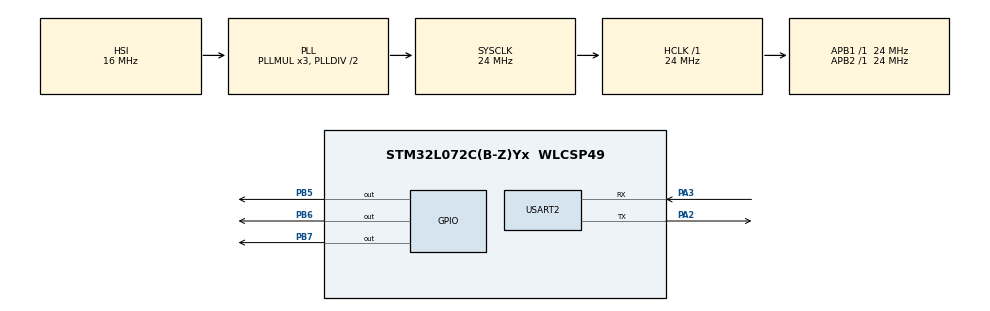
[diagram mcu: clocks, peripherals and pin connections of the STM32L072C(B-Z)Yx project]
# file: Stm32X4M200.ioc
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Mcu.Family=STM32L0
Mcu.Name=STM32L072C(B-Z)Yx
Mcu.Package=WLCSP49
NVIC.USART2_IRQn=true\:0\:0\:false\:false\:true\:true\:true
PA2.Mode=Asynchronous
PA2.Signal=USART2_TX
PA3.Mode=Asynchronous
PA3.Signal=USART2_RX
PB5.Signal=GPIO_Output
PB6.Signal=GPIO_Output
PB7.Signal=GPIO_Output
ProjectManager.HeapSize=0x200
ProjectManager.StackSize=0x400
ProjectManager.TargetToolchain=STM32CubeIDE
RCC.AHBFreq_Value=24000000
RCC.APB1Freq_Value=24000000
RCC.APB1TimFreq_Value=24000000
RCC.APB2Freq_Value=24000000
RCC.APB2TimFreq_Value=24000000
RCC.HCLKFreq_Value=24000000
RCC.HSE_VALUE=8000000
RCC.HSI16_VALUE=16000000
RCC.HSI48_VALUE=48000000
RCC.HSI_VALUE=16000000
RCC.LSE_VALUE=32768
RCC.MSI_VALUE=2097000
RCC.SYSCLKFreq_VALUE=24000000
RCC.SYSCLKSource=RCC_SYSCLKSOURCE_PLLCLK
RCC.VCOOutputFreq_Value=48000000
USART2.VirtualMode-Asynchronous=VM_ASYNC
board=custom

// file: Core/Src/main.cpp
/* USER CODE BEGIN Header */
/**
 ******************************************************************************
 * @file           : main.c
 * @brief          : Main program body
 ******************************************************************************
 * @attention
 *
 * <h2><center>&copy; Copyright (c) 2021 STMicroelectronics.
 * All rights reserved.</center></h2>
 *
 * This software component is licensed by ST under BSD 3-Clause license,
 * the "License"; You may not use this file except in compliance with the
 * License. You may obtain a copy of the License at:
 *                        opensource.org/licenses/BSD-3-Clause
 *
 ******************************************************************************
 */
/* USER CODE END Header */
#include "main.h"
#include "x4m200.h"
#include "string.h"

/* USER CODE BEGIN PD */
#define RX_BUF_LENGTH 64
#define TX_BUF_LENGTH 64
/* USER CODE END PD */

__IO ITStatus UartReady = SET;
UART_HandleTypeDef huart2;
static unsigned char rxBuf[RX_BUF_LENGTH];
static unsigned char txBuf[TX_BUF_LENGTH];

void SystemClock_Config(void);
static void MX_GPIO_Init(void);
static void MX_USART2_UART_Init(void);
void HAL_UART_TxCpltCallback(UART_HandleTypeDef *huart);
void HAL_UART_RxCpltCallback(UART_HandleTypeDef *huart);
/* USER CODE BEGIN PFP */
void sendCommand(unsigned char *cmd, int len);
int receiveData();
void receiveAck();
void stopModule();
void resetModule();
void loadRespirationApp();
void configureNoiseMap();
void setSensity(int sensitivity);
void setDetectionZone(float start_zone, float end_zone);
void executeApp();
RespirationData getRespirationData();
/* USER CODE END PFP */

int main(void) {
	/* USER CODE BEGIN 1 */
	RespirationData data;
	/* USER CODE END 1 */

	/* MCU Configuration--------------------------------------------------------*/

	/* Reset of all peripherals, Initializes the Flash interface and the Systick. */
	HAL_Init();

	/* Configure the system clock */
	SystemClock_Config();

	/* Initialize all configured peripherals */
	MX_GPIO_Init();
	MX_USART2_UART_Init();
	/* USER CODE BEGIN 2 */

	HAL_GPIO_TogglePin(GPIOB, GPIO_PIN_7);
	stopModule();
	resetModule();
	loadRespirationApp();
	configureNoiseMap();
	setSensity(5);
	setDetectionZone(0.40, 2.00);
	executeApp();
	HAL_GPIO_TogglePin(GPIOB, GPIO_PIN_7);
	/* USER CODE END 2 */

	/* Infinite loop */
	while (1) {
		data = getRespirationData();
		if (data.valid == true)
			switch (data.code) {
			case _xts_val_resp_state_breathing:
				HAL_GPIO_WritePin(GPIOB, GPIO_PIN_5, GPIO_PIN_SET);
				HAL_GPIO_WritePin(GPIOB, GPIO_PIN_6, GPIO_PIN_RESET);
				HAL_GPIO_WritePin(GPIOB, GPIO_PIN_7, GPIO_PIN_RESET);
				break;
			case _xts_val_resp_state_movement:
				HAL_GPIO_WritePin(GPIOB, GPIO_PIN_5, GPIO_PIN_RESET);
				HAL_GPIO_WritePin(GPIOB, GPIO_PIN_6, GPIO_PIN_SET);
				HAL_GPIO_WritePin(GPIOB, GPIO_PIN_7, GPIO_PIN_RESET);
				break;
			case _xts_val_resp_state_movement_tracking:
				HAL_GPIO_WritePin(GPIOB, GPIO_PIN_5, GPIO_PIN_RESET);
				HAL_GPIO_WritePin(GPIOB, GPIO_PIN_6, GPIO_PIN_RESET);
				HAL_GPIO_WritePin(GPIOB, GPIO_PIN_7, GPIO_PIN_SET);
				break;
			default:
				HAL_GPIO_WritePin(GPIOB, GPIO_PIN_5, GPIO_PIN_RESET);
				HAL_GPIO_WritePin(GPIOB, GPIO_PIN_6, GPIO_PIN_RESET);
				HAL_GPIO_WritePin(GPIOB, GPIO_PIN_7, GPIO_PIN_RESET);
				break;

			}
	}
}

void SystemClock_Config(void) {
	RCC_OscInitTypeDef RCC_OscInitStruct = { 0 };
	RCC_ClkInitTypeDef RCC_ClkInitStruct = { 0 };
	RCC_PeriphCLKInitTypeDef PeriphClkInit = { 0 };

	/** Configure the main internal regulator output voltage
	 */
	__HAL_PWR_VOLTAGESCALING_CONFIG(PWR_REGULATOR_VOLTAGE_SCALE1);
	/** Initializes the RCC Oscillators according to the specified parameters
	 * in the RCC_OscInitTypeDef structure.
	 */
	RCC_OscInitStruct.OscillatorType = RCC_OSCILLATORTYPE_HSI;
	RCC_OscInitStruct.HSIState = RCC_HSI_ON;
	RCC_OscInitStruct.HSICalibrationValue = RCC_HSICALIBRATION_DEFAULT;
	RCC_OscInitStruct.PLL.PLLState = RCC_PLL_ON;
	RCC_OscInitStruct.PLL.PLLSource = RCC_PLLSOURCE_HSI;
	RCC_OscInitStruct.PLL.PLLMUL = RCC_PLLMUL_3;
	RCC_OscInitStruct.PLL.PLLDIV = RCC_PLLDIV_2;
	if (HAL_RCC_OscConfig(&RCC_OscInitStruct) != HAL_OK) {
		Error_Handler();
	}
	/** Initializes the CPU, AHB and APB buses clocks
	 */
	RCC_ClkInitStruct.ClockType = RCC_CLOCKTYPE_HCLK | RCC_CLOCKTYPE_SYSCLK
			| RCC_CLOCKTYPE_PCLK1 | RCC_CLOCKTYPE_PCLK2;
	RCC_ClkInitStruct.SYSCLKSource = RCC_SYSCLKSOURCE_PLLCLK;
	RCC_ClkInitStruct.AHBCLKDivider = RCC_SYSCLK_DIV1;
	RCC_ClkInitStruct.APB1CLKDivider = RCC_HCLK_DIV1;
	RCC_ClkInitStruct.APB2CLKDivider = RCC_HCLK_DIV1;

	if (HAL_RCC_ClockConfig(&RCC_ClkInitStruct, FLASH_LATENCY_1) != HAL_OK) {
		Error_Handler();
	}
	PeriphClkInit.PeriphClockSelection = RCC_PERIPHCLK_USART2;
	PeriphClkInit.Usart2ClockSelection = RCC_USART2CLKSOURCE_PCLK1;
	if (HAL_RCCEx_PeriphCLKConfig(&PeriphClkInit) != HAL_OK) {
		Error_Handler();
	}
}

static void MX_USART2_UART_Init(void) {

	huart2.Instance = USART2;
	huart2.Init.BaudRate = 115200;
	huart2.Init.WordLength = UART_WORDLENGTH_8B;
	huart2.Init.StopBits = UART_STOPBITS_1;
	huart2.Init.Parity = UART_PARITY_NONE;
	huart2.Init.Mode = UART_MODE_TX_RX;
	huart2.Init.HwFlowCtl = UART_HWCONTROL_NONE;
	huart2.Init.OverSampling = UART_OVERSAMPLING_16;
	huart2.Init.OneBitSampling = UART_ONE_BIT_SAMPLE_DISABLE;
	huart2.AdvancedInit.AdvFeatureInit = UART_ADVFEATURE_NO_INIT;
	if (HAL_UART_Init(&huart2) != HAL_OK) {
		Error_Handler();
	}
	/* USER CODE BEGIN USART2_Init 2 */
	HAL_NVIC_SetPriority(USART2_IRQn, 0, 0);
	HAL_NVIC_EnableIRQ(USART2_IRQn);
	/* USER CODE END USART2_Init 2 */

}

static void MX_GPIO_Init(void) {
	GPIO_InitTypeDef GPIO_InitStruct = { 0 };

	/* GPIO Ports Clock Enable */
	__HAL_RCC_GPIOB_CLK_ENABLE();
	__HAL_RCC_GPIOA_CLK_ENABLE();

	/*Configure GPIO pin Output Level */
	HAL_GPIO_WritePin(GPIOB, GPIO_PIN_5 | GPIO_PIN_6 | GPIO_PIN_7,
			GPIO_PIN_RESET);

	/*Configure GPIO pins : PB5 PB6 PB7 */
	GPIO_InitStruct.Pin = GPIO_PIN_5 | GPIO_PIN_6 | GPIO_PIN_7;
	GPIO_InitStruct.Mode = GPIO_MODE_OUTPUT_PP;
	GPIO_InitStruct.Pull = GPIO_NOPULL;
	GPIO_InitStruct.Speed = GPIO_SPEED_FREQ_LOW;
	HAL_GPIO_Init(GPIOB, &GPIO_InitStruct);

}

void HAL_UART_RxCpltCallback(UART_HandleTypeDef *huart){
	UartReady = SET;
}

/* USER CODE BEGIN 4 */
void sendCommand(unsigned char *cmd, int len) {
	char crc = _xt_start;
	for (int i = 0; i < len; i++)
		crc ^= cmd[i];
	unsigned char tx[len + 3];
	tx[0] = _xt_start;
	memcpy(tx + 1, cmd, len);
	tx[len + 1] = crc;
	tx[len + 2] = _xt_stop;

	HAL_UART_Transmit(&huart2, (uint8_t*) tx, len + 3, HAL_MAX_DELAY);
	HAL_GPIO_TogglePin(GPIOB, GPIO_PIN_5);

}

int receiveData(int lengthDataReceive) {
	int rxBuflen = 0;
	int rxlen = 0;
	unsigned char rx[lengthDataReceive];

	if(UartReady == SET) {
	    UartReady = RESET;
	    HAL_UART_Receive_IT(&huart2, (uint8_t*) rx, lengthDataReceive);
	}
	while(UartReady == RESET);
	HAL_GPIO_TogglePin(GPIOB, GPIO_PIN_5);

	while (true) {
		if (rx[rxlen] == _xt_escape) {
			if (rxlen >= lengthDataReceive)
				return -1;
			else
				rxlen++;
		}
		if (rx[rxlen] == _xt_start) {
			rxBuf[rxBuflen++] = rx[rxlen++];
			break;
		}
	}
	while (true) {
		if (rxBuflen >= RX_BUF_LENGTH || rxlen >= lengthDataReceive)
			return -1;
		if (rx[rxlen] == _xt_escape) {
			if (rxlen >= lengthDataReceive)
				return -1;
			else
				rxlen++;
		}
		if (rx[rxlen] == _xt_start) {
			rxBuflen = 0;
			rxBuf[rxBuflen++] = rx[rxlen++];
		}
		if (rx[rxlen] == _xt_stop) {
			rxBuf[rxBuflen++] = rx[rxlen];
			break;
		}
		rxBuf[rxBuflen++] = rx[rxlen++];
	}

	char crc = 0;
	for (int i = 0; i < rxBuflen - 2; i++)
		crc ^= rxBuf[i];

	if (crc == rxBuf[rxBuflen - 2]) {
		return rxBuflen;
	} else {

		return -1;
	}
}

void receiveAck() {
	while (true) {
		receiveData(4);
		if (rxBuf[1] == _xts_spr_ack || rxBuf[2] == _xts_spr_ack)
			return;
	}
}
void stopModule() {
	txBuf[0] = _xts_spc_mod_setmode;
	txBuf[1] = _xts_sm_stop;

	sendCommand(txBuf, 2);
	receiveAck();

}

void resetModule() {
	txBuf[0] = _xts_spc_mod_reset;
	sendCommand(txBuf, 1);
	receiveAck();
	while (true)
		if (receiveData(8) > 0 && rxBuf[1] == _xts_spr_system
				&& rxBuf[2] == _xts_sprs_ready)
			break;
}

void loadRespirationApp() {
	txBuf[0] = _xts_spc_mod_loadapp;
	memcpy(txBuf + 1, &_xts_id_app_resp_adult, 4);
	sendCommand(txBuf, 5);
	receiveAck();
}

void configureNoiseMap() {
	txBuf[0] = _xts_spc_mod_noisemap;
	txBuf[1] = _xts_spcn_setcontrol;
	txBuf[2] = 0x06; // 0x06: Use default noisemap and adaptive noisemap
	txBuf[3] = 0x00;
	txBuf[4] = 0x00;
	txBuf[5] = 0x00;
	sendCommand(txBuf, 6);
	receiveAck();
}

void setSensity(int sensitivity) {
	txBuf[0] = _xts_spc_appcommand;
	txBuf[1] = _xts_spca_set;
	memcpy(txBuf + 2, &_xts_id_sensitivity, 4);
	memcpy(txBuf + 6, &sensitivity, 4);
	sendCommand(txBuf, 10);
	receiveAck();
}

void setDetectionZone(float start_zone, float end_zone) {
	txBuf[0] = _xts_spc_appcommand;
	txBuf[1] = _xts_spca_set;

	memcpy(txBuf + 2, &_xts_id_detection_zone, 4);
	memcpy(txBuf + 6, &start_zone, 4);
	memcpy(txBuf + 10, &end_zone, 4);

	sendCommand(txBuf, 14);
	receiveAck();
}

void executeApp() {
	txBuf[0] = _xts_spc_mod_setmode;
	txBuf[1] = _xts_sm_run;

	sendCommand(txBuf, 2);
	receiveAck();
}

RespirationData getRespirationData() {
	RespirationData data;
	int receiveLenght = receiveData(36);

	if (receiveLenght < 0 || rxBuf[1] != _xts_spr_appdata) {
		data.valid = false;
		return data;
	}
	memcpy(&data.code, &rxBuf[10], 4);
	if (data.code == _xts_val_resp_state_breathing) {
		memcpy(&data.rpm, &rxBuf[14], 4);
		memcpy(&data.movement, &rxBuf[22], 4);
	}

	data.valid = true;
	return data;

}
/* USER CODE END 4 */

void Error_Handler(void) {
	__disable_irq();
	while (1) {
	}
}

/************************ (C) COPYRIGHT STMicroelectronics *****END OF FILE****/
